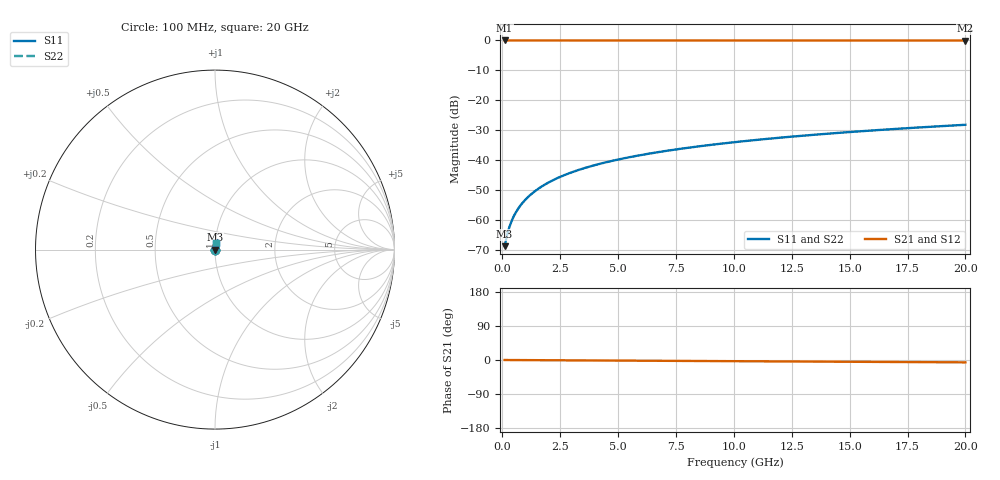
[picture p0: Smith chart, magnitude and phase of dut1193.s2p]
! Touchstone file exported from HFSS 2026.1.0
!  File:  C:/ffzhzh/LocalFiles/Ansys_Project_Files/temp_train_TSV_1193_1783192465_51560.aedt
!  Generated:  03:16:04 AM Jul  5, 2026
!  Design:  TSV
!  Project:  temp_train_TSV_1193_1783192465_51560
! Variables:
!  h_bsmrdl = 2um
!  h_ox = 20um
!  h_rdl = 5um
!  h_sub = 55.56um
!  h_tmrdl = 5um
!  h_tsv = 55.56um
!  h_via = 3um
!  l_bsmrdl = 300um
!  l_sub = 410.26um
!  l_tmrdl = 200um
!  m_sub = 200um
!  pitch = 34.11um
!  r_tsv = 5.13um
!  s_tmrdl = 10um
!  w_bsmrdl = 18um
!  w_sub = 500um
!  w_tmrdl = 12um
!  x_tsv_center1 = 206um
!  x_tsv_center2 = 524um
!  x_tsv_center3 = 736um
!  x_tsv_center4 = 1054um
!  x_tsv_center5 = 1266um
!  x_tsv_center6 = 1584um
# GHz S MA R 50.000000
! Terminal data exported
! Port[1] = TSV1_1_T1
! Port[2] = TSV1_1_T2
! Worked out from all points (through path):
!   200 points, 100 MHz to 20 GHz, reference 50 ohm
!   highest |S21| = 0.00 dB at 100 MHz (marker M1); lowest = 0.0 dB at 20 GHz (marker M2)
!   lowest |S11| = -68.9 dB at 100 MHz (marker M3), VSWR 1.00, Z = 50 + j0.0229 ohm
!   |S11| at or under -10 dB: start of sweep to end of sweep
!   |S22| runs from -68.9 to -28.2 dB; largest |S21 - S12| = 4.3e-15
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0.1  0.0003598 39.5  0.9997 -0.0  0.9997 -0.0  0.0003598 39.5
! Gamma 0 0 0 0
! Port Impedance 50 0 50 0
0.2  0.0005381 57.6  0.9997 -0.1  0.9997 -0.1  0.0005381 57.6
0.3  0.0007392 65.7  0.9997 -0.1  0.9997 -0.1  0.0007392 65.7
0.4  0.0009443 70.2  0.9997 -0.1  0.9997 -0.1  0.0009443 70.2
0.5  0.001149 73.0  0.9997 -0.2  0.9997 -0.2  0.001149 73.0
0.6  0.001353 75.0  0.9997 -0.2  0.9997 -0.2  0.001353 75.0
0.8  0.001759 77.6  0.9996 -0.3  0.9996 -0.3  0.001759 77.6
1.1  0.002368 80.0  0.9996 -0.4  0.9996 -0.4  0.002368 80.0
1.3  0.002774 81.0  0.9996 -0.4  0.9996 -0.4  0.002774 81.0
1.6  0.003384 82.0  0.9995 -0.5  0.9995 -0.5  0.003384 82.0
2.1  0.004398 83.0  0.9995 -0.7  0.9995 -0.7  0.004398 83.0
2.7  0.005607 83.6  0.9994 -0.9  0.9994 -0.9  0.005607 83.6
3.5  0.007203 83.9  0.9994 -1.1  0.9994 -1.1  0.007203 83.9
4.2  0.008585 84.1  0.9993 -1.3  0.9993 -1.3  0.008585 84.1
5  0.01015 84.1  0.9992 -1.6  0.9992 -1.6  0.01015 84.1
5.9  0.0119 84.1  0.9991 -1.9  0.9991 -1.9  0.0119 84.1
6.8  0.01363 84.0  0.999 -2.1  0.999 -2.1  0.01363 84.0
8.3  0.01651 83.9  0.9989 -2.6  0.9989 -2.6  0.01651 83.9
10.1  0.01996 83.7  0.9987 -3.2  0.9987 -3.2  0.01996 83.7
13.4  0.02625 83.1  0.9984 -4.2  0.9984 -4.2  0.02625 83.1
16.7  0.03251 82.3  0.9981 -5.2  0.9981 -5.2  0.03251 82.3
20  0.03873 81.5  0.9977 -6.2  0.9977 -6.2  0.03873 81.5
